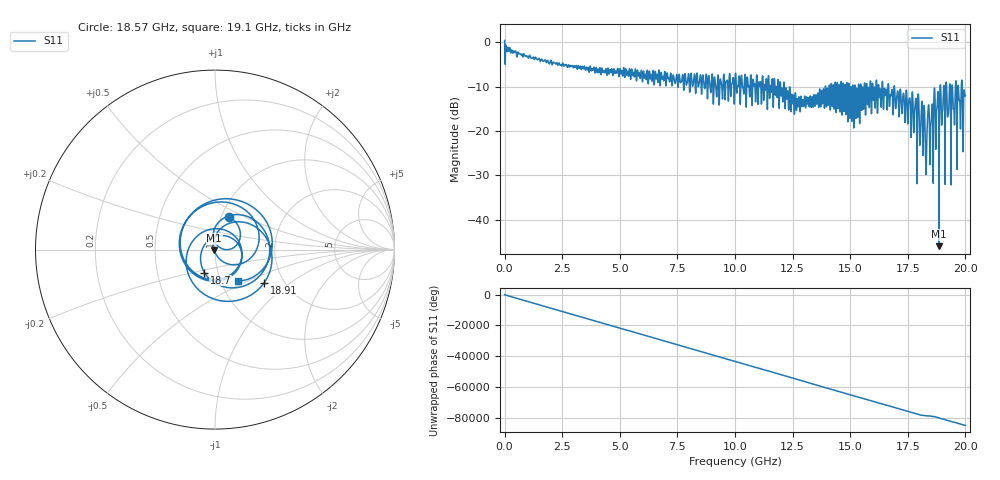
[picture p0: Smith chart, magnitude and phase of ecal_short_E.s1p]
! MS46122B
! 2250307/22442219
! 7/26/2025 10:18:24 AM
! C:\USERS\SPARKY\DOCUMENTS\VNA_DATA\JULY26_2025\295K\ECAL_SHORT.S1P
! CHANNEL.1
! TR.MEASUREMENT
! RAW.DATA
# GHZ S RI R 50.0
! FREQ.GHZ  S11RE  S11IM
!; PortSelection: Port_1
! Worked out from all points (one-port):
!   10001 points, 1 MHz to 20 GHz, reference 50 ohm
!   lowest |S11| = -46.0 dB at 18.86 GHz (marker M1), VSWR 1.01, Z = 49.6 - j0.293 ohm
!   |S11| at or under -10 dB: 12.14 GHz to 13.92 GHz (1.78 GHz wide, 13.7 % of centre); 16.67 GHz to 16.91 GHz (235.5 MHz wide, 1.4 % of centre); 16.92 GHz to 18.9 GHz (1.98 GHz wide, 11.1 % of centre) (the widest 3 of 72)
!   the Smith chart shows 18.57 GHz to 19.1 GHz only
!   S11 on the Smith chart (normalised r, x): 18.57 GHz: 1.09, +0.41; 18.7 GHz: 0.86, -0.22; 18.91 GHz: 1.59, -0.66; 19.1 GHz: 1.20, -0.44
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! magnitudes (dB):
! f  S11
! 1 MHz  0.4
! 2.501 GHz  -5.0
! 5.001 GHz  -6.0
! 7.501 GHz  -8.4
! 10 GHz  -8.3
! 11.79 GHz  -9.9
! 12.5 GHz  -13.9
! 14.27 GHz  -9.6
! 15 GHz  -13.7
! 16.06 GHz  -10.3
! 17.5 GHz  -18.3
! 17.57 GHz  -12.6
! 17.78 GHz  -17.4
! 17.83 GHz  -13.7
! 17.9 GHz  -25.3
! 17.98 GHz  -13.5
! 18.16 GHz  -24.4
! 18.24 GHz  -18.9
! 18.57 GHz  -14.0
! 18.7 GHz  -17.0
! 18.79 GHz  -12.9
! 18.86 GHz  -46.0
! 18.91 GHz  -9.6
! 19.1 GHz  -13.3
! 19.45 GHz  -12.4
! 19.51 GHz  -15.4
! 19.56 GHz  -11.5
! 20 GHz  -12.0
